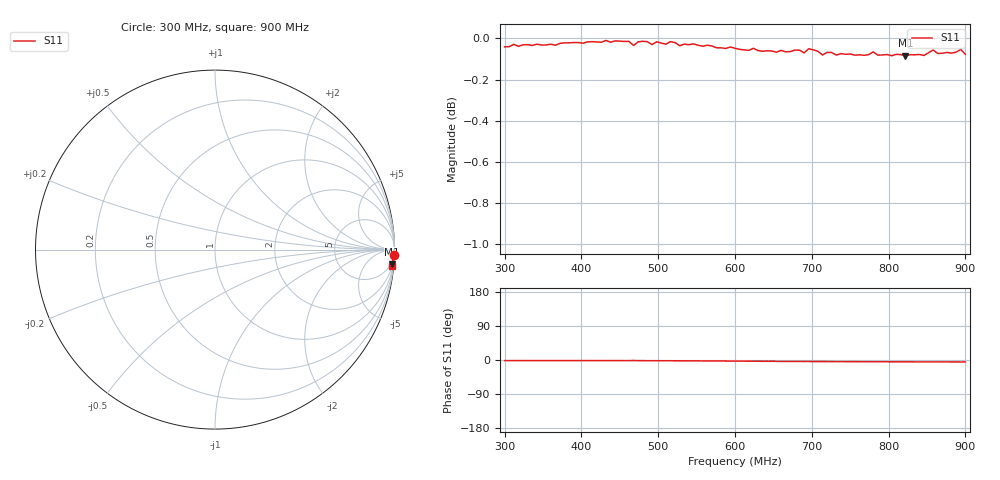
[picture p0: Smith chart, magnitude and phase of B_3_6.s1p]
# HZ S RI R 50
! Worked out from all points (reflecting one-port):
!   101 points, 300 MHz to 900 MHz, reference 50 ohm
!   lowest |S11| = -0.1 dB at 822 MHz (marker M1), VSWR 207.10, Z = 138 - j1.19e+03 ohm
!   phase of S11 starts at -2 deg and turns -3 deg over the sweep
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3e8  0.9949 -0.0287
3.78e8  0.9972 -0.0266
4.5e8  0.9981 -0.0278
4.62e8  0.9979 -0.029
4.68e8  0.9959 -0.0216
4.74e8  0.9977 -0.03
4.92e8  0.9961 -0.0324
5.16e8  0.9976 -0.0345
5.28e8  0.9953 -0.0363
5.46e8  0.9962 -0.04
6e8  0.9933 -0.0496
6.54e8  0.9904 -0.0619
6.78e8  0.9913 -0.0667
6.9e8  0.9896 -0.0684
6.96e8  0.9919 -0.0681
7.02e8  0.9911 -0.0718
7.14e8  0.9883 -0.071
7.5e8  0.9884 -0.0766
7.8e8  0.9892 -0.0806
7.86e8  0.9875 -0.0795
8.22e8  0.987 -0.0823
8.28e8  0.9874 -0.0835
8.46e8  0.9868 -0.0863
8.58e8  0.9899 -0.0861
8.64e8  0.9879 -0.0865
8.76e8  0.9885 -0.0863
8.94e8  0.9897 -0.0908
9e8  0.9872 -0.089
